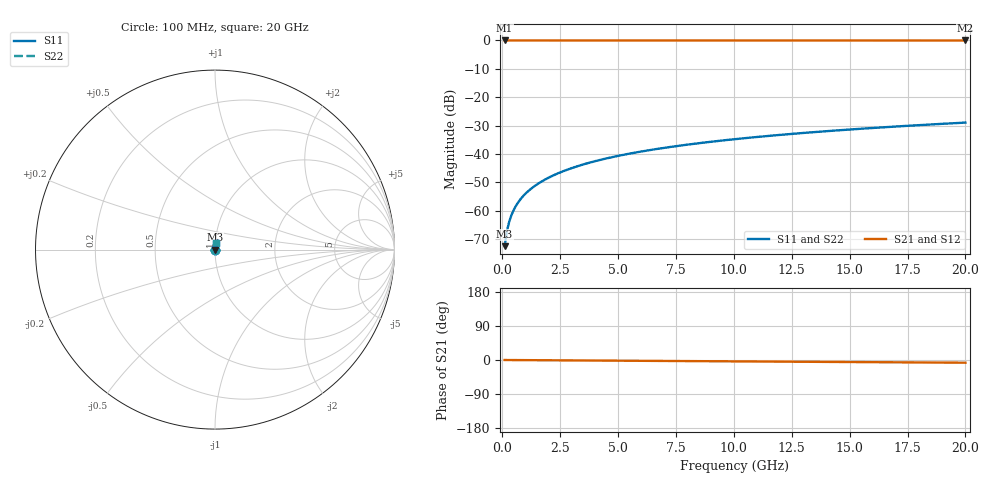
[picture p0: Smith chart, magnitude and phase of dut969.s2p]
! Touchstone file exported from HFSS 2026.1.0
!  File:  C:/ffzhzh/LocalFiles/Ansys_Project_Files/temp_train_TSV_969_1783187698_51560.aedt
!  Generated:  01:56:35 AM Jul  5, 2026
!  Design:  TSV
!  Project:  temp_train_TSV_969_1783187698_51560
! Variables:
!  h_bsmrdl = 2um
!  h_ox = 20um
!  h_rdl = 5um
!  h_sub = 62.42um
!  h_tmrdl = 5um
!  h_tsv = 62.42um
!  h_via = 3um
!  l_bsmrdl = 300um
!  l_sub = 420um
!  l_tmrdl = 200um
!  m_sub = 200um
!  pitch = 56.3um
!  r_tsv = 10um
!  s_tmrdl = 10um
!  w_bsmrdl = 18um
!  w_sub = 500um
!  w_tmrdl = 12um
!  x_tsv_center1 = 206um
!  x_tsv_center2 = 524um
!  x_tsv_center3 = 736um
!  x_tsv_center4 = 1054um
!  x_tsv_center5 = 1266um
!  x_tsv_center6 = 1584um
# GHz S MA R 50.000000
! Terminal data exported
! Port[1] = TSV1_1_T1
! Port[2] = TSV1_1_T2
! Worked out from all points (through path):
!   200 points, 100 MHz to 20 GHz, reference 50 ohm
!   highest |S21| = 0.00 dB at 100 MHz (marker M1); lowest = 0.0 dB at 20 GHz (marker M2)
!   lowest |S11| = -72.6 dB at 100 MHz (marker M3), VSWR 1.00, Z = 50 + j0.0212 ohm
!   |S11| at or under -10 dB: start of sweep to end of sweep
!   |S22| runs from -72.6 to -29.0 dB; largest |S21 - S12| = 2.1e-15
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0.1  0.0002356 63.8  0.9999 -0.0  0.9999 -0.0  0.0002356 63.8
! Gamma 0 0 0 0
! Port Impedance 50 0 50 0
0.2  0.0004359 75.0  0.9999 -0.1  0.9999 -0.1  0.0004359 75.0
0.3  0.0006397 78.5  0.9999 -0.1  0.9999 -0.1  0.0006397 78.5
0.4  0.0008412 80.1  0.9999 -0.1  0.9999 -0.1  0.0008412 80.1
0.5  0.001039 81.0  0.9998 -0.2  0.9998 -0.2  0.001039 81.0
0.6  0.001233 81.5  0.9998 -0.2  0.9998 -0.2  0.001233 81.5
0.7  0.001424 81.9  0.9998 -0.3  0.9998 -0.3  0.001424 81.9
0.8  0.001612 82.2  0.9998 -0.3  0.9998 -0.3  0.001612 82.2
1  0.001983 82.7  0.9998 -0.4  0.9998 -0.4  0.001983 82.7
1.4  0.002714 83.5  0.9997 -0.5  0.9997 -0.5  0.002714 83.5
1.7  0.003258 83.9  0.9997 -0.6  0.9997 -0.6  0.003258 83.9
2  0.003802 84.3  0.9997 -0.7  0.9997 -0.7  0.003802 84.3
2.7  0.005071 84.8  0.9996 -1.0  0.9996 -1.0  0.005071 84.8
3.5  0.006517 85.0  0.9996 -1.3  0.9996 -1.3  0.006517 85.0
4.2  0.007778 85.1  0.9995 -1.5  0.9995 -1.5  0.007778 85.1
5  0.009214 85.1  0.9995 -1.8  0.9995 -1.8  0.009214 85.1
6.8  0.01243 84.8  0.9993 -2.5  0.9993 -2.5  0.01243 84.8
8.3  0.01509 84.5  0.9992 -3.0  0.9992 -3.0  0.01509 84.5
10.1  0.01827 84.1  0.9991 -3.6  0.9991 -3.6  0.01827 84.1
13.4  0.02408 83.2  0.9989 -4.8  0.9989 -4.8  0.02408 83.2
16.7  0.02986 82.2  0.9986 -6.0  0.9986 -6.0  0.02986 82.2
20  0.03559 81.2  0.9983 -7.2  0.9983 -7.2  0.03559 81.2
